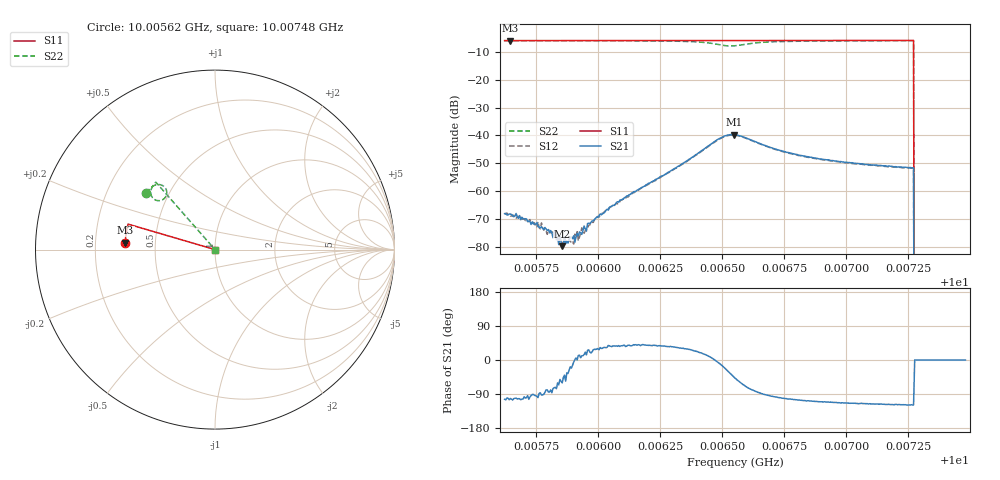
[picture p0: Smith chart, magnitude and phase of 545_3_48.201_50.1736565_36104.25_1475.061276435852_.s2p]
#  HZ  S  RI  R  50.00
! Rohde & Schwarz Vector Network Analyzer
! Rohde-Schwarz,ZNB20-2Port,1311601062101988,3.16
! Created: UTC 3/20/2024, 12:00:33 PM
! freq[Hz]  re:S11  im:S11  re:S21  im:S21  re:S12  im:S12  re:S22  im:S22
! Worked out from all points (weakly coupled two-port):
!   401 points, 10.00562 GHz to 10.00748 GHz, reference 50 ohm
!   highest |S21| = -39.73 dB at 10.00655 GHz (marker M1); lowest = -79.8 dB at 10.00586 GHz (marker M2)
!   lowest |S11| = -6.0 dB at 10.00565 GHz (marker M3), VSWR 3.01, Z = 16.6 + j1.71 ohm
!   |S11| at or under -10 dB: 10.00727 GHz to end of sweep
!   |S22| runs from - to -6.0 dB; largest |S21 - S12| = 0.00067
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1.0005623e10  -0.5002 0.0369  -9.22e-05 -0.000383  -9.5e-05 -0.000391  -0.3855 0.3136
1.0005646e10  -0.5 0.0384  -7.8e-05 -0.000379  -0.000106 -0.000338  -0.3845 0.3149
1.0005702e10  -0.5 0.042  -3.8e-05 -0.000312  -6.95e-05 -0.000313  -0.3819 0.3182
1.0005767e10  -0.4997 0.0464  1.35e-05 -0.000219  3.39e-05 -0.000207  -0.3788 0.3221
1.0005818e10  -0.4994 0.0498  3.65e-05 -0.000141  2.49e-05 -0.000188  -0.3762 0.3254
1.0005851e10  -0.4993 0.0518  6.9e-05 -0.000103  6.79e-05 -0.000102  -0.3745 0.3274
1.0005855e10  -0.4993 0.0521  5.09e-05 -8.92e-05  6.09e-05 -9.21e-05  -0.3743 0.3277
1.0005865e10  -0.4993 0.0527  0.000115 -9.6e-05  0.000109 -8.68e-05  -0.3736 0.3284
1.0005892e10  -0.4991 0.0545  0.000138 -5.44e-05  0.000115 -6.22e-07  -0.3721 0.3301
1.0005911e10  -0.4989 0.0556  0.00015 1.41e-05  0.00015 -1.79e-05  -0.3712 0.3314
1.0005934e10  -0.4988 0.0571  0.000164 3.22e-05  0.000214 4.67e-05  -0.3696 0.3327
1.0006046e10  -0.4981 0.0645  0.000407 0.000311  0.000401 0.000298  -0.3627 0.3401
1.0006245e10  -0.4967 0.0775  0.00137 0.00107  0.00129 0.00112  -0.3434 0.355
1.0006487e10  -0.4938 0.0929  0.0086 -0.00121  0.00843 -0.000735  -0.2701 0.3293
1.0006547e10  -0.4931 0.096  0.00731 -0.00728  0.00757 -0.00667  -0.2926 0.2775
1.0006552e10  -0.4931 0.0963  0.00692 -0.00759  0.00719 -0.00705  -0.2968 0.2755
1.0006723e10  -0.492 0.1071  -0.000819 -0.00545  -0.000534 -0.00542  -0.3584 0.3208
1.0006863e10  -0.4904 0.1161  -0.00128 -0.00378  -0.00108 -0.00377  -0.3524 0.3439
1.0007174e10  -0.4859 0.1359  -0.00128 -0.0025  -0.00114 -0.00249  -0.335 0.3701
1.0007262e10  -0.4846 0.1414  -0.00123 -0.00231  -0.00112 -0.00231  -0.3302 0.3755
1.0007285e10  0 0  0 0  0 0  0 0
1.000748e10  0 0  0 0  0 0  0 0
